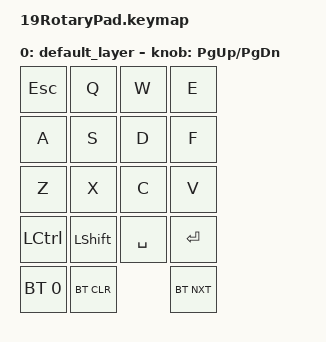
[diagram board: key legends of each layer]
#include <behaviors.dtsi>
#include <dt-bindings/zmk/keys.h>
#include <dt-bindings/zmk/bt.h>
#include <dt-bindings/zmk/outputs.h>

&inc_dec_kp {
    compatible = "zmk,behavior-encoder-inc-dec";
};

&kp {
    compatible = "zmk,behavior-key-press";
};

/ {
    behaviors {
        rot_kp: sensor_rotate_kp {
            compatible = "zmk,behavior-sensor-rotate-var";
            #sensor-binding-cells = <2>;
            bindings = <&kp>, <&kp>;
        };
    };
    
    keymap {
        compatible = "zmk,keymap";
        
        default_layer {
            bindings = <
                &kp ESC    &kp Q    &kp W    &kp E
                &kp A      &kp S    &kp D    &kp F
                &kp Z      &kp X    &kp C    &kp V
                &kp LEFT_CONTROL  &kp LEFT_SHIFT  &kp SPACE  &kp ENTER
                &bt BT_SEL 0  &bt BT_CLR  &bt BT_NXT
            >;
            sensor-bindings = <&rot_kp PG_UP PG_DN>;
        };
    };
};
